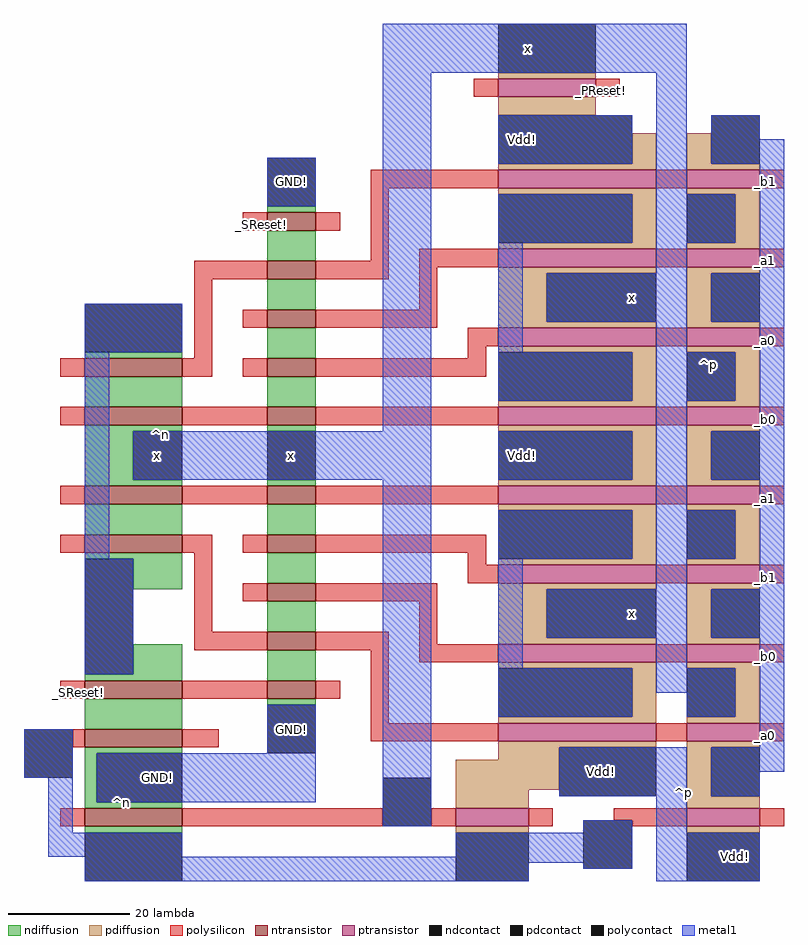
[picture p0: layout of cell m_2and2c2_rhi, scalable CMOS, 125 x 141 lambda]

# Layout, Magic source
magic
tech scmos
<< ndiffusion >>
rect 160 141 168 142
rect 160 133 168 138
rect 130 117 146 118
rect 160 125 168 130
rect 160 117 168 122
rect 130 109 146 114
rect 160 109 168 114
rect 130 105 146 106
rect 130 97 138 105
rect 130 96 146 97
rect 160 105 168 106
rect 160 96 168 97
rect 130 88 146 93
rect 160 88 168 93
rect 130 84 146 85
rect 138 79 146 84
rect 160 80 168 85
rect 160 72 168 77
rect 138 65 146 70
rect 130 64 146 65
rect 160 64 168 69
rect 130 56 146 61
rect 160 60 168 61
rect 130 52 146 53
rect 130 44 132 52
rect 130 43 146 44
rect 130 39 146 40
<< pdiffusion >>
rect 198 163 214 164
rect 198 157 214 160
rect 220 149 224 154
rect 198 148 224 149
rect 229 149 233 154
rect 229 148 241 149
rect 198 144 224 145
rect 220 136 224 144
rect 198 135 224 136
rect 229 144 241 145
rect 237 136 241 144
rect 229 135 241 136
rect 198 131 224 132
rect 198 123 206 131
rect 198 122 224 123
rect 229 131 241 132
rect 229 123 233 131
rect 229 122 241 123
rect 198 118 224 119
rect 220 110 224 118
rect 198 109 224 110
rect 229 118 241 119
rect 237 110 241 118
rect 229 109 241 110
rect 198 105 224 106
rect 220 97 224 105
rect 198 96 224 97
rect 229 105 241 106
rect 229 97 233 105
rect 229 96 241 97
rect 198 92 224 93
rect 220 84 224 92
rect 198 83 224 84
rect 229 92 241 93
rect 237 84 241 92
rect 229 83 241 84
rect 198 79 224 80
rect 198 71 206 79
rect 198 70 224 71
rect 229 79 241 80
rect 229 71 233 79
rect 229 70 241 71
rect 198 66 224 67
rect 220 58 224 66
rect 198 57 224 58
rect 229 66 241 67
rect 237 58 241 66
rect 229 57 241 58
rect 198 53 224 54
rect 198 51 208 53
rect 191 46 208 51
rect 191 43 203 46
rect 229 53 241 54
rect 229 45 233 53
rect 229 43 241 45
rect 191 39 203 40
rect 229 39 241 40
<< ntransistor >>
rect 160 138 168 141
rect 160 130 168 133
rect 160 122 168 125
rect 130 114 146 117
rect 160 114 168 117
rect 130 106 146 109
rect 160 106 168 109
rect 130 93 146 96
rect 160 93 168 96
rect 130 85 146 88
rect 160 85 168 88
rect 160 77 168 80
rect 160 69 168 72
rect 130 61 146 64
rect 160 61 168 64
rect 130 53 146 56
rect 130 40 146 43
<< ptransistor >>
rect 198 160 214 163
rect 198 145 224 148
rect 229 145 241 148
rect 198 132 224 135
rect 229 132 241 135
rect 198 119 224 122
rect 229 119 241 122
rect 198 106 224 109
rect 229 106 241 109
rect 198 93 224 96
rect 229 93 241 96
rect 198 80 224 83
rect 229 80 241 83
rect 198 67 224 70
rect 229 67 241 70
rect 198 54 224 57
rect 229 54 241 57
rect 191 40 203 43
rect 229 40 241 43
<< polysilicon >>
rect 194 160 198 163
rect 214 160 218 163
rect 177 145 198 148
rect 224 145 229 148
rect 241 145 245 148
rect 156 138 160 141
rect 168 138 172 141
rect 177 133 180 145
rect 148 130 160 133
rect 168 130 180 133
rect 185 132 198 135
rect 224 132 229 135
rect 241 132 245 135
rect 148 117 151 130
rect 185 125 188 132
rect 156 122 160 125
rect 168 122 188 125
rect 193 119 198 122
rect 224 119 229 122
rect 241 119 245 122
rect 193 117 196 119
rect 126 114 130 117
rect 146 114 151 117
rect 156 114 160 117
rect 168 114 196 117
rect 126 106 130 109
rect 146 106 160 109
rect 168 106 198 109
rect 224 106 229 109
rect 241 106 245 109
rect 126 93 130 96
rect 146 93 160 96
rect 168 93 198 96
rect 224 93 229 96
rect 241 93 245 96
rect 126 85 130 88
rect 146 85 151 88
rect 156 85 160 88
rect 168 85 196 88
rect 148 72 151 85
rect 193 83 196 85
rect 193 80 198 83
rect 224 80 229 83
rect 241 80 245 83
rect 156 77 160 80
rect 168 77 188 80
rect 148 69 160 72
rect 168 69 180 72
rect 126 61 130 64
rect 146 61 160 64
rect 168 61 172 64
rect 128 53 130 56
rect 146 53 152 56
rect 177 57 180 69
rect 185 70 188 77
rect 185 67 198 70
rect 224 67 229 70
rect 241 67 245 70
rect 177 54 198 57
rect 224 54 229 57
rect 241 54 245 57
rect 126 40 130 43
rect 146 40 179 43
rect 187 40 191 43
rect 203 40 207 43
rect 217 41 229 43
rect 220 40 229 41
rect 241 40 245 43
<< ndcontact >>
rect 160 142 168 150
rect 130 118 146 126
rect 138 97 146 105
rect 160 97 168 105
rect 130 65 138 84
rect 160 52 168 60
rect 132 44 146 52
rect 130 31 146 39
<< pdcontact >>
rect 198 164 214 172
rect 198 149 220 157
rect 233 149 241 157
rect 198 136 220 144
rect 229 136 237 144
rect 206 123 224 131
rect 233 123 241 131
rect 198 110 220 118
rect 229 110 237 118
rect 198 97 220 105
rect 233 97 241 105
rect 198 84 220 92
rect 229 84 237 92
rect 206 71 224 79
rect 233 71 241 79
rect 198 58 220 66
rect 229 58 237 66
rect 208 45 224 53
rect 233 45 241 53
rect 191 31 203 39
rect 229 31 241 39
<< polycontact >>
rect 120 48 128 56
rect 179 40 187 48
rect 212 33 220 41
<< metal1 >>
rect 179 164 229 172
rect 160 142 168 150
rect 130 118 146 126
rect 130 84 134 118
rect 179 105 187 164
rect 198 149 220 157
rect 224 144 229 164
rect 233 153 241 157
rect 233 149 245 153
rect 198 136 220 144
rect 224 136 237 144
rect 198 118 202 136
rect 224 131 229 136
rect 241 131 245 149
rect 206 123 229 131
rect 233 123 245 131
rect 224 118 229 123
rect 198 110 220 118
rect 224 110 237 118
rect 138 97 187 105
rect 198 97 220 105
rect 130 65 138 84
rect 120 48 128 56
rect 160 52 168 60
rect 124 39 128 48
rect 132 44 168 52
rect 179 40 187 97
rect 224 92 229 110
rect 241 105 245 123
rect 233 97 245 105
rect 198 84 220 92
rect 224 84 237 92
rect 198 66 202 84
rect 224 79 229 84
rect 241 79 245 97
rect 206 71 229 79
rect 233 71 245 79
rect 224 66 229 71
rect 198 58 220 66
rect 224 62 237 66
rect 229 58 237 62
rect 241 53 245 71
rect 208 45 229 53
rect 233 49 245 53
rect 233 45 241 49
rect 212 39 220 41
rect 124 35 146 39
rect 191 35 220 39
rect 130 34 220 35
rect 130 31 203 34
rect 212 33 220 34
rect 224 39 229 45
rect 224 31 241 39
<< labels >>
rlabel metal1 202 153 202 153 5 Vdd!
rlabel metal1 202 101 202 101 1 Vdd!
rlabel metal1 164 101 164 101 1 x
rlabel metal1 142 101 142 101 1 x
rlabel metal1 164 146 164 146 5 GND!
rlabel polysilicon 159 139 159 139 1 _SReset!
rlabel metal1 164 56 164 56 1 GND!
rlabel metal1 142 48 142 48 1 GND!
rlabel polysilicon 129 62 129 62 1 _SReset!
rlabel metal1 220 127 220 127 1 x
rlabel pdcontact 220 75 220 75 5 x
rlabel metal1 237 35 237 35 1 Vdd!
rlabel polysilicon 242 55 242 55 1 _a0
rlabel polysilicon 242 68 242 68 1 _b0
rlabel polysilicon 242 81 242 81 1 _b1
rlabel polysilicon 242 94 242 94 1 _a1
rlabel polysilicon 242 107 242 107 1 _b0
rlabel polysilicon 242 120 242 120 1 _a0
rlabel polysilicon 242 133 242 133 1 _a1
rlabel polysilicon 242 146 242 146 1 _b1
rlabel metal1 215 49 215 49 1 Vdd!
rlabel metal1 203 168 203 168 5 x
rlabel polysilicon 215 161 215 161 1 _PReset!
rlabel space 125 59 160 150 7 ^n
rlabel space 119 30 153 58 7 ^n
rlabel space 211 30 246 61 3 ^p
rlabel space 219 62 246 170 3 ^p
<< end >>
